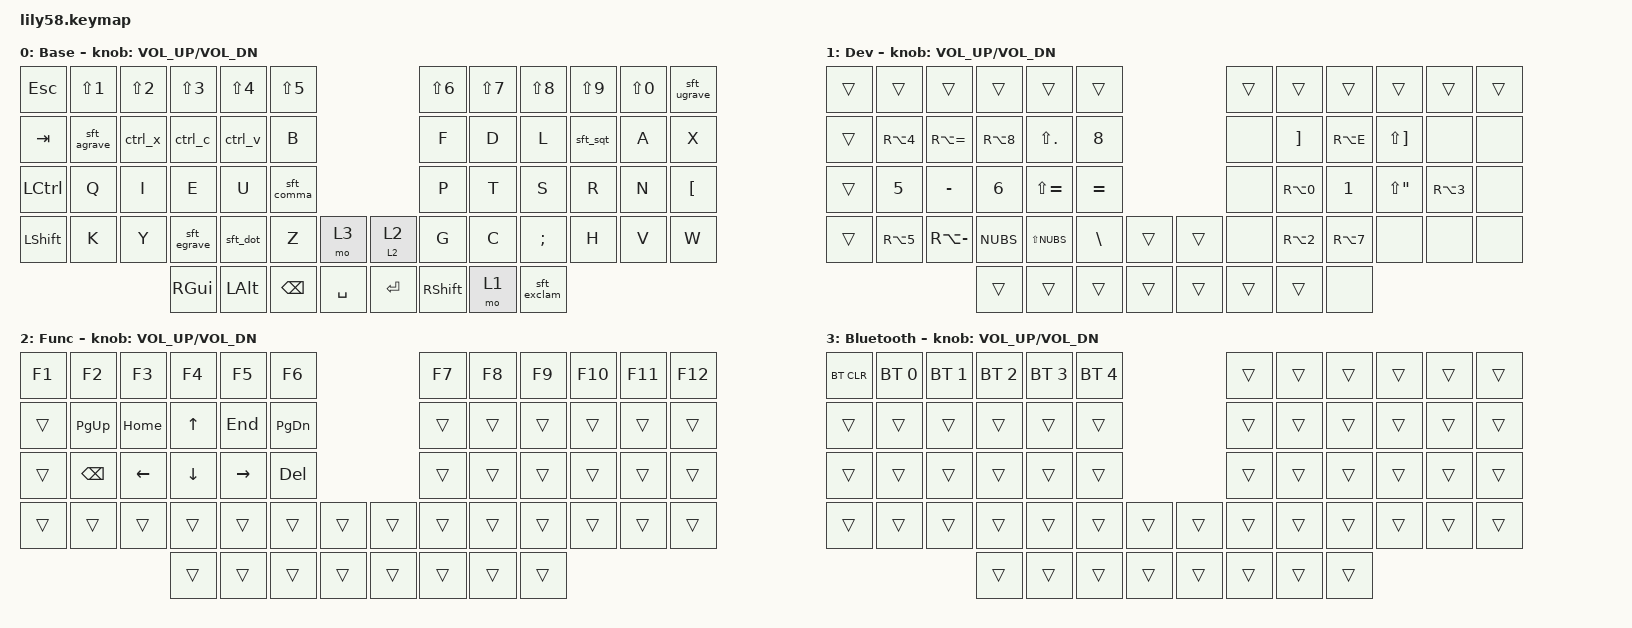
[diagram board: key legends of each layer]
/*
 * Copyright (c) 2020 The ZMK Contributors
 *
 * SPDX-License-Identifier: MIT
 */

#include <behaviors.dtsi>
#include <dt-bindings/zmk/keys.h>
#include <dt-bindings/zmk/bt.h>
#include <dt-bindings/zmk/ext_power.h>

/ {
	macros {
		maj_eaigue: maj_eaigue {
			compatible = "zmk,behavior-macro";
			#binding-cells = <0>;
			wait-ms = <1>;
			tap-ms = <1>;
			bindings 	= <&macro_press &kp LALT>
						, <&macro_tap &kp KP_N1 &kp KP_N4 &kp KP_N4>
						, <&macro_release &kp LALT> ;
		};
		maj_egrave: maj_egrave {
			compatible = "zmk,behavior-macro";
			#binding-cells = <0>;
			wait-ms = <1>;
			tap-ms = <1>;
			bindings 	= <&macro_press &kp LALT>
						, <&macro_tap &kp KP_N0 &kp KP_N2 &kp KP_N0 &kp KP_N0>
						, <&macro_release &kp LALT> ;
		};
		maj_agrave: maj_agrave {
			compatible = "zmk,behavior-macro";
			#binding-cells = <0>;
			wait-ms = <1>;
			tap-ms = <1>;
			bindings 	= <&macro_press &kp LALT>
						, <&macro_tap &kp KP_N0 &kp KP_N1 &kp KP_N9 &kp KP_N2>
						, <&macro_release &kp LALT> ;
		};
		maj_ccedille: maj_ccedille {
			compatible = "zmk,behavior-macro";
			#binding-cells = <0>;
			wait-ms = <1>;
			tap-ms = <1>;
			bindings 	= <&macro_press &kp LALT>
						, <&macro_tap &kp KP_N0 &kp KP_N1 &kp KP_N9 &kp KP_N9>
						, <&macro_release &kp LALT> ;
		};
		maj_ugrave: maj_ugrave {
			compatible = "zmk,behavior-macro";
			#binding-cells = <0>;
			wait-ms = <1>;
			tap-ms = <1>;
			bindings 	= <&macro_press &kp LALT>
						, <&macro_tap &kp KP_N0 &kp KP_N2 &kp KP_N1 &kp KP_N7>
						, <&macro_release &kp LALT> ;
		};
		maj_question: maj_question {
			compatible = "zmk,behavior-macro";
			#binding-cells = <0>;
			wait-ms = <1>;
			tap-ms = <1>;
			bindings 	= <&macro_press &kp LALT>
						, <&macro_tap &kp KP_N6 &kp KP_N3>
						, <&macro_release &kp LALT> ;
		};
		maj_exclam: maj_exclam {
			compatible = "zmk,behavior-macro";
			#binding-cells = <0>;
			wait-ms = <1>;
			tap-ms = <1>;
			bindings 	= <&macro_press &kp LALT>
						, <&macro_tap &kp KP_N3 &kp KP_N3>
						, <&macro_release &kp LALT> ;
		};
		f_layer: f_layer {
			compatible = "zmk,behavior-macro";
			#binding-cells = <0>;
			wait-ms = <1>;
			tap-ms = <1>;
			bindings 	= <&macro_tap &mo 2>;
		};
		f_toggle_layer: f_toggle_layer {
			compatible = "zmk,behavior-macro";
			#binding-cells = <0>;
			wait-ms = <1>;
			tap-ms = <1>;
			bindings 	= <&macro_tap &tog 2>;
		};
	};
};

/ {
	behaviors  {
		sft_eaigue: sft_eaigue {
			compatible = "zmk,behavior-mod-morph";
			#binding-cells = <0>;
			bindings = <&kp N2>, <&maj_eaigue>;
			mods = <(MOD_LSFT|MOD_RSFT)>;
		};
		sft_egrave: sft_egrave {
			compatible = "zmk,behavior-mod-morph";
			#binding-cells = <0>;
			bindings = <&kp N7>, <&maj_egrave>;
			mods = <(MOD_LSFT|MOD_RSFT)>;
		};
		sft_agrave: sft_agrave {
			compatible = "zmk,behavior-mod-morph";
			#binding-cells = <0>;
			bindings = <&kp N0>, <&maj_agrave>;
			mods = <(MOD_LSFT|MOD_RSFT)>;
		};
		
//		sft_ccedille: sft_ccedille {
//			compatible = "zmk,behavior-mod-morph";
//			#binding-cells = <0>;
//			bindings = <&kp N9>, <&maj_ccedille>;
//			mods = <(MOD_LSFT|MOD_RSFT)>;
//		};
//		sft_ugrave: sft_ugrave {
//			compatible = "zmk,behavior-mod-morph";
//			#binding-cells = <0>;
//			bindings = <&kp APOS>, <&maj_ugrave>;
//			mods = <(MOD_LSFT|MOD_RSFT)>;
//		};
		sft_ugrave: sft_ugrave {
			compatible = "zmk,behavior-mod-morph";
			#binding-cells = <0>;
			bindings = <&kp APOS>, <&kp N9>;
			mods = <(MOD_LSFT|MOD_RSFT)>;
		};
		
		sft_dot: sft_dot {
			compatible = "zmk,behavior-mod-morph";
			#binding-cells = <0>;
			bindings = <&kp LS(COMMA)>, <&kp DOT>;
			mods = <(MOD_LSFT|MOD_RSFT)>;
		};
		sft_comma: sft_comma {
			compatible = "zmk,behavior-mod-morph";
			#binding-cells = <0>;
			bindings = <&kp M>, <&kp COMMA>;
			mods = <(MOD_LSFT|MOD_RSFT)>;
		};
		sft_sqt: sft_sqt {
			compatible = "zmk,behavior-mod-morph";
			#binding-cells = <0>;
			bindings = <&kp N4>, <&kp N3>;
			mods = <(MOD_LSFT|MOD_RSFT)>;
		};
		sft_caret: sft_caret {
			compatible = "zmk,behavior-mod-morph";
			#binding-cells = <0>;
			bindings = <&kp LBKT>, <&kp FSLH>;
			mods = <(MOD_LSFT|MOD_RSFT)>;
		};
		sft_exclam: sft_exclam {
			compatible = "zmk,behavior-mod-morph";
			#binding-cells = <0>;
			bindings = <&maj_question>, <&maj_exclam>;
			mods = <(MOD_LSFT|MOD_RSFT)>;
		};
		
		ctrl_x: ctrl_x {
			compatible = "zmk,behavior-mod-morph";
			#binding-cells = <0>;
			bindings = <&kp J>, <&kp X>;
			mods = <(MOD_LCTL|MOD_RCTL)>;
            keep-mods = <(MOD_LCTL|MOD_RCTL)>;
		};
		ctrl_c: ctrl_c {
			compatible = "zmk,behavior-mod-morph";
			#binding-cells = <0>;
			bindings = <&kp O>, <&kp C>;
			mods = <(MOD_LCTL|MOD_RCTL)>;
            keep-mods = <(MOD_LCTL|MOD_RCTL)>;
		};
		ctrl_v: ctrl_v {
			compatible = "zmk,behavior-mod-morph";
			#binding-cells = <0>;
			bindings = <&sft_eaigue>, <&kp V>;
			mods = <(MOD_LCTL|MOD_RCTL)>;
            keep-mods = <(MOD_LCTL|MOD_RCTL)>;
		};

	mo_tog: behavior_mo_tog {
            compatible = "zmk,behavior-hold-tap";
            #binding-cells = <2>;
            flavor = "hold-preferred";
            tapping-term-ms = <200>;
            bindings = <&mo>, <&tog>;
        };
	};
};

/ {
    keymap {
        compatible = "zmk,keymap";

        default_layer {
// ------------------------------------------------------------------------------------------------------------
// |  ESC  |  1  |  2  |  3   |  4   |  5   |                   |  6   |  7    |  8    |  9   |   0   |   ù  |
// |  TAB  |  à  |  j  |  o   |  é   |  b   |                   |  f   |  d    |  l    |  '   |   q   |   x  |
// |  CTRL |  a  |  i  |  e   |  u   |  ,   |                   |  p   |  t    |  s    |  r   |   n   |   ^  |
// | SHIFT |  k  |  y  |  è   |  .   |  w   |   "BT"  |  | "FN" |  g   |  c    |  m    |  h   |   v   |   z  |
//                     | GUI  |  ALT | BSPC |  SPACE |  | ENTER | SHIFT  | DEV  |  ?    |
            display-name = "Base";
            bindings = <
&kp ESC      &kp LS(N1)  &kp LS(N2) &kp LS(N3)  &kp LS(N4)  &kp LS(N5)                  &kp LS(N6) &kp LS(N7) &kp LS(N8) &kp LS(N9) &kp LS(N0) &sft_ugrave
&kp TAB      &sft_agrave &ctrl_x    &ctrl_c     &ctrl_v     &kp B                       &kp F      &kp D      &kp L      &sft_sqt   &kp A      &kp X
&kp LCTRL    &kp Q       &kp I      &kp E       &kp U       &sft_comma                  &kp P      &kp T      &kp S      &kp R      &kp N      &kp LBKT
&kp LSHIFT   &kp K       &kp Y      &sft_egrave &sft_dot    &kp Z      &mo 3  &mo_tog 2 2  &kp G      &kp C      &kp SEMI   &kp H      &kp V      &kp W
                                    &kp RGUI    &kp LALT    &kp BSPC  &kp SPACE &kp RET &kp RSHIFT &mo 1      &sft_exclam
            >;

            sensor-bindings = <&inc_dec_kp C_VOL_UP C_VOL_DN>;
        };
		
// MAJ
// ------------------------------------------------------------------------------------------------------------
// |       |     |     |      |      |      |                   |      |       |       |      |       |   ç  |
// |       |  à  |     |      |  é   |      |                   |      |       |       |  "   |       |      |
// |       |     |     |      |      |  ;   |                   |      |       |       |      |       |   ¨  |
// |       |     |     |  è   |  :   |      |        |  |       |      |       |       |      |       |      |
//                     |      |      |      |        |  |       |      |       |   !   |


        dev_layer {
// ------------------------------------------------------------------------------------------------------------
// |       |     |     |      |      |      |                   |      |       |       |      |       |       |
// |       |  {  |  }  |   \  |  /   |   _  |                   |      |   $   |   €   |  £   |       |       |
// |       |  (  |  )  |   -  |  +   |   =  |                   |      |   @   |   &   |  %   |   #   |       |
// |       |  [  |  ]  |   <  |  >   |   *  |        |  |       |      |   ~   |   `   |      |       |       |
//                     |      |      |      |        |  |       |      |       |       |
            display-name = "Dev";
            bindings = <
&trans     &trans     &trans        &trans        &trans       &trans                         &trans    &trans    &trans          &trans       &trans    &trans
&trans     &kp RA(N4) &kp RA(EQUAL) &kp RA(N8)    &kp LS(DOT)  &kp N8                         &none     &kp RBKT  &kp RA(E)       &kp LS(RBKT) &none     &none
&trans     &kp N5     &kp MINUS     &kp N6        &kp LS(EQUAL) &kp EQUAL                     &none     &kp RA(N0) &kp N1         &kp LS(DQT)  &kp RA(N3) &none
&trans     &kp RA(N5) &kp RA(MINUS) &kp NUBS      &kp LS(NUBS) &kp BSLH    &trans   &trans    &none     &kp RA(N2) &kp RA(N7)     &none        &none     &none
                                    &trans        &trans       &trans      &trans   &trans    &trans    &trans    &none
            >;

            sensor-bindings = <&inc_dec_kp C_VOL_UP C_VOL_DN>;
        };

        func_layer {
// ------------------------------------------------------------------------------------------------------------
// |  F1 |  F2 |  F3 |  F4  |  F5 |  F6 |                   |  F7 |  F8 |  F9 | F10 | F11 | F12 |
// |     | pup |start|  up  | end |pdown|                   |     |     |     |     |     |     |
// |     | BSPC|left | down |right|SUPPR|                   |     |     |     |     |     |     |
// |     |     |     |      |     |     |        |  |       |     |     |     |     |     |     |
//                   |      |     |     |        |  |       |     |     |     |
            display-name = "Func";
            bindings = <
&kp F1 &kp F2    &kp F3   &kp F4     &kp F5     &kp F6                      &kp F7 &kp F8 &kp F9 &kp F10 &kp F11 &kp F12
&trans &kp PG_UP &kp HOME &kp UP     &kp END    &kp PG_DN                 &trans &trans &trans &trans &trans &trans
&trans &kp BSPC  &kp LEFT &kp DOWN   &kp RIGHT  &kp DEL                   &trans &trans &trans &trans &trans &trans
&trans &trans    &trans   &trans     &trans     &trans    &trans   &trans   &trans &trans &trans &trans &trans &trans
                          &trans     &trans     &trans    &trans   &trans   &trans &trans &trans
            >;

            sensor-bindings = <&inc_dec_kp C_VOL_UP C_VOL_DN>;
        };

        bt_layer {
// ------------------------------------------------------------------------------------------------------------
// |BTCLEAR|  BT0 | BT1 | BT2 | BT3 | BT4 |                   |     |     |     |    |    |    |
// |BTCLEAR|  BT0 | BT1 | BT2 | BT3 | BT4 |                   |     |     |     |    |    |    |
// |BTCLEAR|  BT0 | BT1 | BT2 | BT3 | BT4 |                   |     |     |     |    |    |    |
// |BTCLEAR|  BT0 | BT1 | BT2 | BT3 | BT4 |        |  |       |     |     |     |    |    |    |
//                     |      |     |     |        |  |       |     |     |     |
            display-name = "Bluetooth";
            bindings = <
&bt BT_CLR    &bt BT_SEL 0 &bt BT_SEL 1 &bt BT_SEL 2  &bt BT_SEL 3  &bt BT_SEL 4                       &trans &trans &trans &trans &trans &trans
&trans        &trans       &trans       &trans        &trans        &trans                             &trans &trans &trans &trans &trans &trans
&trans        &trans       &trans       &trans        &trans        &trans                             &trans &trans &trans &trans &trans &trans
&trans        &trans       &trans       &trans        &trans        &trans          &trans   &trans    &trans &trans &trans &trans &trans &trans
                                        &trans        &trans        &trans          &trans   &trans    &trans &trans &trans
            >;

            sensor-bindings = <&inc_dec_kp C_VOL_UP C_VOL_DN>;
        };
    };
};
